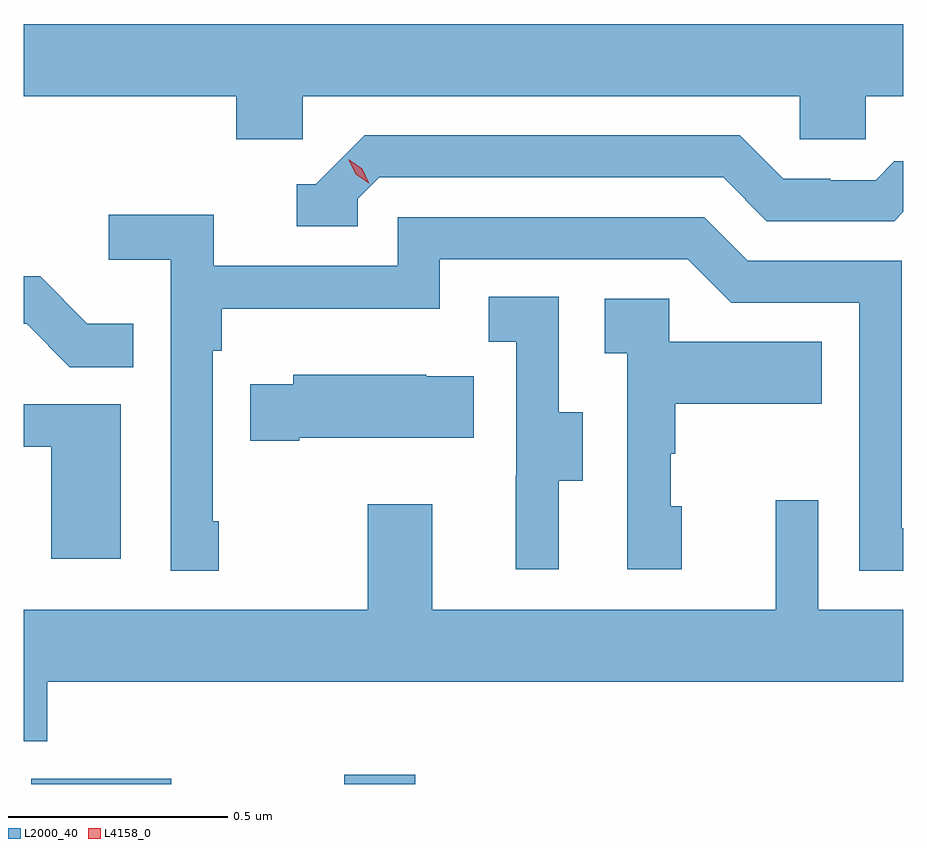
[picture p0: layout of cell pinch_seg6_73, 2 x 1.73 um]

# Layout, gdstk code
import gdstk
lib = gdstk.Library(unit=1e-6, precision=1e-09)
def R(c, l, rs):  # rectangles x0, y0, x1, y1
    for r in rs: c.add(gdstk.rectangle(r[:2], r[2:], *l))
def P(c, l, *ps):  # polygons
    for p in ps: c.add(gdstk.Polygon(p, *l))
L2000_40 = (2000, 40)
L4158_0 = (4158, 0)

pinch_seg6_73 = lib.new_cell('pinch_seg6_73')
R(pinch_seg6_73, L2000_40, [(937.621,923.128,937.939,923.14), (938.333,923.128,938.494,923.149)])
P(pinch_seg6_73, L2000_40, [(938.238,924.692),(939.369,924.692),(939.369,924.594),(939.519,924.594),(939.519,924.692),(939.604,924.692),(939.604,924.856),(937.604,924.856),(937.604,924.692),(938.087,924.692),(938.087,924.594),(938.238,924.594)],
  [(938.364,924.459),(938.412,924.507),(939.195,924.507),(939.294,924.408),(939.583,924.408),(939.604,924.429),(939.604,924.544),(939.583,924.544),(939.541,924.501),(939.438,924.501),(939.438,924.504),(939.331,924.504),(939.232,924.603),(938.379,924.603),(938.268,924.492),(938.225,924.492),(938.225,924.396),(938.364,924.396)],
  [(938.047,923.725),(938.034,923.725),(938.034,924.113),(938.054,924.113),(938.054,924.209),(938.55,924.209),(938.55,924.321),(939.114,924.321),(939.213,924.222),(939.504,924.222),(939.504,923.613),(939.604,923.613),(939.604,923.709),(939.6,923.709),(939.6,924.318),(939.25,924.318),(939.151,924.417),(938.454,924.417),(938.454,924.306),(938.036,924.306),(938.036,924.422),(937.797,924.422),(937.797,924.32),(937.938,924.32),(937.938,923.613),(938.047,923.613)],
  [(937.853,924.175),(937.749,924.175),(937.642,924.282),(937.604,924.282),(937.604,924.174),(937.611,924.174),(937.709,924.076),(937.853,924.076)],
  [(938.821,923.818),(938.875,923.818),(938.875,923.973),(938.82,923.973),(938.82,924.236),(938.661,924.236),(938.661,924.133),(938.724,924.133),(938.724,923.829),(938.723,923.829),(938.723,923.616),(938.821,923.616)],
  [(939.1,923.76),(939.075,923.76),(939.075,923.879),(939.085,923.879),(939.085,923.993),(939.419,923.993),(939.419,924.133),(939.072,924.133),(939.072,924.231),(938.925,924.231),(938.925,924.107),(938.976,924.107),(938.976,923.616),(939.1,923.616)],
  [(938.23,923.915),(938.627,923.915),(938.627,924.055),(938.519,924.055),(938.519,924.058),(938.217,924.058),(938.217,924.037),(938.119,924.037),(938.119,923.908),(938.23,923.908)],
  [(937.825,923.991),(937.604,923.991),(937.604,923.895),(937.667,923.895),(937.667,923.64),(937.825,923.64)],
  [(939.604,923.524),(939.411,923.524),(939.411,923.773),(939.314,923.773),(939.314,923.524),(938.533,923.524),(938.533,923.764),(938.386,923.764),(938.386,923.524),(937.604,923.524),(937.604,923.225),(937.658,923.225),(937.658,923.36),(939.604,923.36)])
P(pinch_seg6_73, L4158_0, [(938.389,924.494),(938.359,924.514),(938.343,924.547),(938.343,924.547),(938.344,924.547),(938.374,924.527),(938.389,924.495),(938.389,924.494)])

lib.write_gds('pinch_seg6_73.gds')
